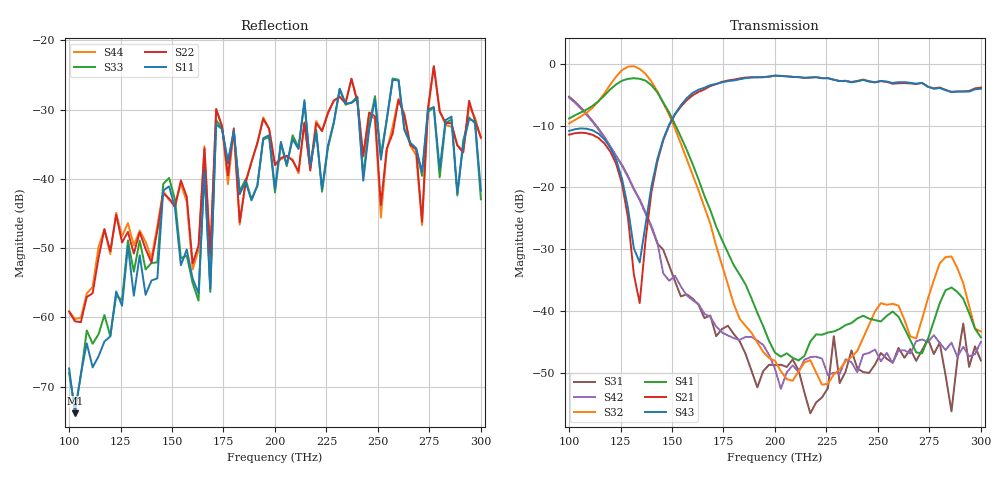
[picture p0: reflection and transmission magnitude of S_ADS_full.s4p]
! Created Mon Jun 27 09:49:36 2022
# hz S ri R 50
! 4 Port Network Data from SP1.SP block
! freq  reS11  imS11  reS12  imS12  reS13  imS13  reS14  imS14
!  reS21  imS21  reS22  imS22  reS23  imS23  reS24  imS24
!  reS31  imS31  reS32  imS32  reS33  imS33  reS34  imS34
!  reS41  imS41  reS42  imS42  reS43  imS43  reS44  imS44
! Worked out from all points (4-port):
!   71 points, 100 THz to 300.1 THz, reference 50 ohm
!   strongest paths, dB at 100 THz, 148.6 THz, 200 THz, 251.5 THz, 300.1 THz:
!     S43: -10.8, -9.9, -1.9, -2.8, -4.0
!     S21: -11.4, -9.9, -1.9, -2.8, -3.8
!     S41: -8.8, -7.8, -46.8, -41.7, -44.3
!     S32: -9.6, -8.2, -48.1, -38.7, -43.3
!     S42: -5.5, -35.1, -49.4, -48.2, -45.0
!     S31: -5.3, -32.6, -48.8, -46.8, -48.0
!   lowest |S11| = -73.8 dB at 102.9 THz (marker M1), VSWR 1.00, Z = 50 + j0.0163 ohm
!   |S11| at or under -10 dB: start of sweep to end of sweep
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1.000168e14  -0.000411 0.000121  0.267 -0.0185  0.5398 -0.0635  0.3609 -0.0211
             0.267 -0.0185  -0.000847 0.000703  0.3294 -0.0209  0.5307 -0.0528
             0.5398 -0.0635  0.3294 -0.0209  -0.000355 0.000178  0.2861 -0.0217
             0.3609 -0.0211  0.5307 -0.0528  0.2861 -0.0217  -0.000834 0.000732
1.028744e14  -0.000121 0.000163  0.274 -0.0191  0.4915 -0.0444  0.383 -0.0213
             0.274 -0.0191  -0.000314 0.000883  0.3514 -0.0212  0.4833 -0.0371
             0.4915 -0.0444  0.3514 -0.0212  -0.000146 0.000159  0.2952 -0.0227
             0.383 -0.0213  0.4833 -0.0371  0.2952 -0.0227  -0.000306 0.000926
1.343082e14  -0.00268 0.000849  0.0115 0.00135  0.0775 0.0197  0.7584 -0.00926
             0.0115 0.00135  -0.00398 0.00107  0.912 -0.00484  0.0764 0.0201
             0.0775 0.0197  0.912 -0.00484  -0.00352 0.000733  0.0247 0.000852
             0.7584 -0.00926  0.0764 0.0201  0.0247 0.000852  -0.00393 0.00158
1.685997e14  -0.00155 -0.000394  0.6622 -0.000178  0.009 -0.00184  0.0656 -0.00156
             0.6622 -0.000178  -0.00285 0.000682  0.0509 0.000459  0.00872 -0.00206
             0.009 -0.00184  0.0509 0.000459  -0.0015 -0.000292  0.6737 -7.61e-05
             0.0656 -0.00156  0.00872 -0.00206  0.6737 -7.61e-05  -0.00252 0.000624
1.714573e14  -0.0247 0.000777  0.6874 -0.000876  0.00616 -0.000991  0.0481 -0.0016
             0.6874 -0.000876  -0.0317 0.000699  0.0337 0.000316  0.0073 -0.00165
             0.00616 -0.000991  0.0337 0.000316  -0.0265 0.000771  0.6884 -0.000453
             0.0481 -0.0016  0.0073 -0.00165  0.6884 -0.000453  -0.0322 0.000697
2.057488e14  -0.0126 -0.00157  0.7952 -0.00373  0.00328 -0.00126  0.00452 0.000309
             0.7952 -0.00373  -0.0147 -0.00103  0.00281 8.09e-06  0.0015 0.00281
             0.00328 -0.00126  0.00281 8.09e-06  -0.0123 -0.00167  0.793 -0.00362
             0.00452 0.000309  0.0015 0.00281  0.793 -0.00362  -0.0144 -0.00125
3.000503e14  -0.00816 -0.00101  0.6438 -0.00318  0.00364 0.00156  0.0061 -0.000275
             0.6438 -0.00318  -0.02 -0.00107  0.00681 -0.00028  0.00504 -0.00249
             0.00364 0.00156  0.00681 -0.00028  -0.00706 -0.00108  0.6293 -0.00281
             0.0061 -0.000275  0.00504 -0.00249  0.6293 -0.00281  -0.0197 -0.00112
